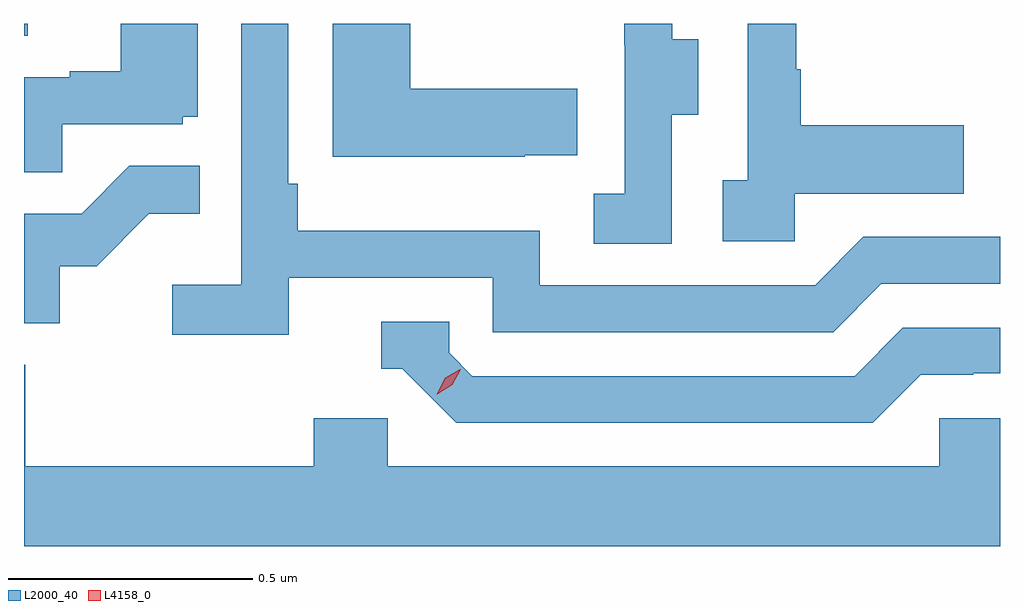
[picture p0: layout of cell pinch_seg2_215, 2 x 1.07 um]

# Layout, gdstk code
import gdstk
lib = gdstk.Library(unit=1e-6, precision=1e-09)
def R(c, l, rs):  # rectangles x0, y0, x1, y1
    for r in rs: c.add(gdstk.rectangle(r[:2], r[2:], *l))
def P(c, l, *ps):  # polygons
    for p in ps: c.add(gdstk.Polygon(p, *l))
L2000_40 = (2000, 40)
L4158_0 = (4158, 0)

pinch_seg2_215 = lib.new_cell('pinch_seg2_215')
R(pinch_seg2_215, L2000_40, [(964.577,654.01,964.585,654.035)])
P(pinch_seg2_215, L2000_40, [(966.156,653.687),(966.503,653.687),(966.503,653.827),(966.169,653.827),(966.169,653.942),(966.159,653.942),(966.159,654.035),(966.06,654.035),(966.06,653.714),(966.009,653.714),(966.009,653.589),(966.156,653.589)],
  [(965.12,653.514),(965.538,653.514),(965.538,653.403),(966.235,653.403),(966.334,653.502),(966.577,653.502),(966.577,653.598),(966.297,653.598),(966.198,653.499),(965.634,653.499),(965.634,653.611),(965.138,653.611),(965.138,653.707),(965.118,653.707),(965.118,654.035),(965.022,654.035),(965.022,653.5),(964.881,653.5),(964.881,653.398),(965.12,653.398)],
  [(965.603,653.765),(965.711,653.765),(965.711,653.902),(965.368,653.902),(965.368,654.035),(965.21,654.035),(965.21,653.762),(965.603,653.762)],
  [(964.655,653.829),(964.902,653.829),(964.902,653.844),(964.933,653.844),(964.933,654.035),(964.775,654.035),(964.775,653.938),(964.671,653.938),(964.671,653.925),(964.577,653.925),(964.577,653.731),(964.655,653.731)],
  [(965.904,653.848),(965.959,653.848),(965.959,654.003),(965.905,654.003),(965.905,654.035),(965.807,654.035),(965.807,653.991),(965.808,653.991),(965.808,653.687),(965.745,653.687),(965.745,653.584),(965.904,653.584)],
  [(964.65,653.538),(964.726,653.538),(964.833,653.645),(964.937,653.645),(964.937,653.744),(964.793,653.744),(964.695,653.646),(964.577,653.646),(964.577,653.421),(964.65,653.421)],
  [(966.415,653.316),(966.522,653.316),(966.522,653.319),(966.577,653.319),(966.577,653.412),(966.378,653.412),(966.279,653.313),(965.496,653.313),(965.448,653.361),(965.448,653.424),(965.309,653.424),(965.309,653.328),(965.352,653.328),(965.463,653.217),(966.316,653.217)],
  [(966.577,653.226),(966.453,653.226),(966.453,653.128),(965.322,653.128),(965.322,653.226),(965.171,653.226),(965.171,653.128),(964.58,653.128),(964.58,653.336),(964.577,653.336),(964.577,652.964),(966.577,652.964)])
P(pinch_seg2_215, L4158_0, [(965.423,653.276),(965.423,653.276),(965.44,653.309),(965.471,653.327),(965.472,653.327),(965.472,653.327),(965.455,653.295),(965.424,653.276)])

lib.write_gds('pinch_seg2_215.gds')
